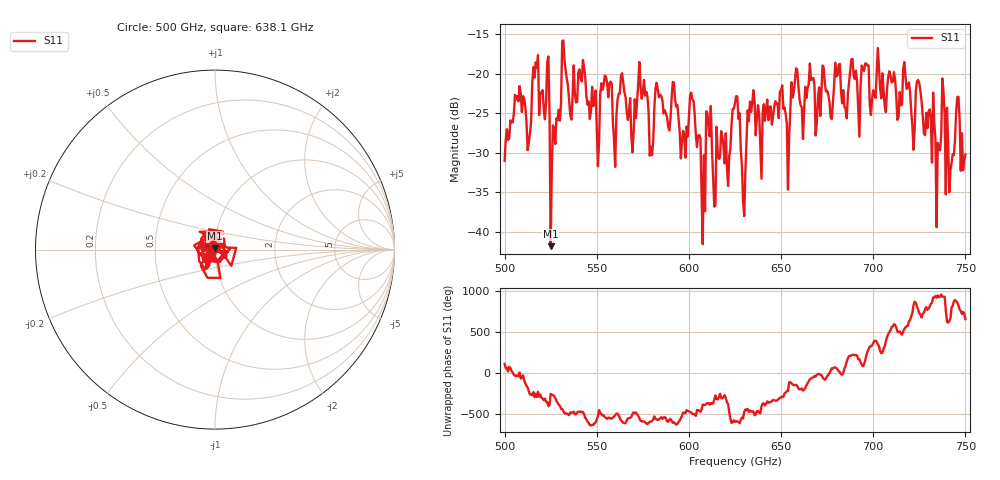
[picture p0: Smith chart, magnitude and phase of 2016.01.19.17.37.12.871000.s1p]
!Created with skrf (http://scikit-rf.org).
# GHz S RI R 50.0
!freq ReS11 ImS11
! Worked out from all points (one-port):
!   401 points, 500 GHz to 750 GHz, reference 50 ohm
!   lowest |S11| = -41.8 dB at 525 GHz (marker M1), VSWR 1.02, Z = 49.8 + j0.784 ohm
!   |S11| at or under -10 dB: start of sweep to end of sweep
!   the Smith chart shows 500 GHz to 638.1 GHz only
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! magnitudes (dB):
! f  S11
! 500 GHz  -31.0
! 506.9 GHz  -22.8
! 513.1 GHz  -28.7
! 516.9 GHz  -18.6
! 525 GHz  -41.8
! 531.2 GHz  -15.9
! 550 GHz  -26.7
! 562.5 GHz  -22.5
! 570 GHz  -27.5
! 574.4 GHz  -23.2
! 579.4 GHz  -29.3
! 583.1 GHz  -22.0
! 593.8 GHz  -24.0
! 596.9 GHz  -27.2
! 601.9 GHz  -23.3
! 607.5 GHz  -41.6
! 610.6 GHz  -26.6
! 614.4 GHz  -36.6
! 625 GHz  -23.7
! 629.4 GHz  -36.1
! 634.4 GHz  -23.7
! 653.8 GHz  -34.7
! 656.2 GHz  -23.0
! 687.5 GHz  -19.6
! 718.8 GHz  -21.7
! 735 GHz  -28.8
! 737.5 GHz  -20.6
! 750 GHz  -30.2
